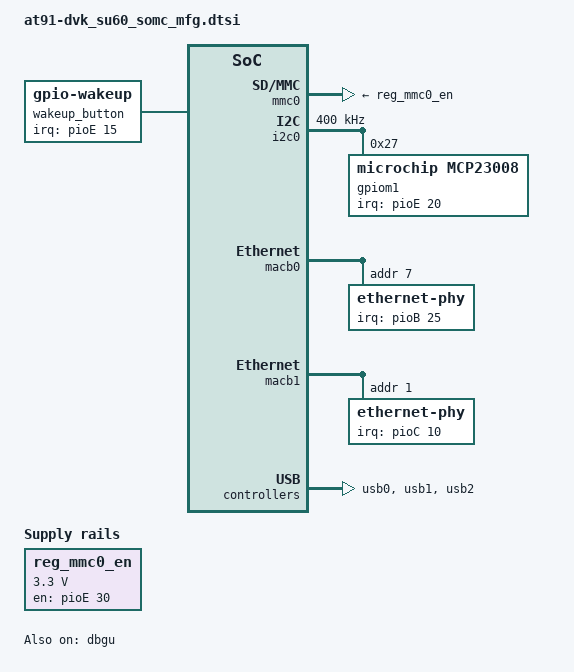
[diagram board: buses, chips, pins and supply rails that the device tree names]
/*
 * at91-dvk_su60_somc_mfg.dtsi - Device Tree file for the Manufacturing SOM60 board
 *
 *  Copyright (C) 2018 Laird,
 *		  2018 Ben Whitten <ben.whitten@lairdconnect.com>
 *		  2018 Boris Krasnovskiy <boris.krasnovskiy@lairdconnect.com>
 *
 * Licensed under GPLv2 or later.
 */

/ {
	reg_mmc0_en: reg_mmc0_en_grp {
		pinctrl-names = "default";
		pinctrl-0 = <&pinctrl_mmc0_en>;

		compatible = "regulator-fixed";
		regulator-name = "VDD MMC0";
		regulator-min-microvolt = <3300000>;
		regulator-max-microvolt = <3300000>;

		gpio = <&pioE 30 GPIO_ACTIVE_HIGH>;
		startup-delay-us = <110>;
		enable-active-high;
	};

	wakeup_button {
		pinctrl-names = "default";
		pinctrl-0 = <&pinctrl_pb_wake>;

		compatible = "gpio-wakeup";

		interrupts-extended = <&pioE 15 IRQ_TYPE_EDGE_FALLING>;
	};
};

&pinctrl {
	board {
		pinctrl_mmc0_cd: mmc0_cd {
			atmel,pins =
				<AT91_PIOE 31 AT91_PERIPH_GPIO AT91_PINCTRL_DEGLITCH>;
		};

		pinctrl_mmc0_en: mmc0_en {
			atmel,pins =
				<AT91_PIOE 30 AT91_PERIPH_GPIO AT91_PINCTRL_MULTI_DRIVE>;
		};

		pinctrl_gpiom_int: gpiom_int {
			atmel,pins =
				<AT91_PIOE 20 AT91_PERIPH_GPIO AT91_PINCTRL_DEGLITCH>;
		};

		pinctrl_usba_vbus: usba_vbus {
		   atmel,pins =
				<AT91_PIOC 14 AT91_PERIPH_GPIO AT91_PINCTRL_DEGLITCH>;
		};

		pinctrl_geth_int: geth_int {
			atmel,pins =
				<AT91_PIOB 25 AT91_PERIPH_GPIO AT91_PINCTRL_DEGLITCH>;
		};

		pinctrl_eth_int: eth_int {
			atmel,pins =
				<AT91_PIOC 10 AT91_PERIPH_GPIO AT91_PINCTRL_DEGLITCH>;
		};

		pinctrl_pb_wake: pb_wake {
			atmel,pins =
				<AT91_PIOE 15 AT91_PERIPH_GPIO AT91_PINCTRL_PULL_UP_DEGLITCH>;
		};
	};
};

&mmc0 {
	pinctrl-names = "default";
	pinctrl-0 = <&pinctrl_mmc0_clk_cmd_dat0 &pinctrl_mmc0_dat1_3 &pinctrl_mmc0_cd>;
	pinctrl-1 = <&pinctrl_mmc0_clk_cmd_dat0_sleep &pinctrl_mmc0_dat1_3_sleep &pinctrl_mmc0_cd>;

	vmmc-supply = <&reg_mmc0_en>;
	status = "okay";

	slot@0 {
		reg = <0>;
		bus-width = <4>;
		cd-gpios = <&pioE 31 GPIO_ACTIVE_HIGH>;
	};
};

&i2c0 {
	status = "okay";
	clock-frequency = <400000>;

	gpiom1: gpio@27 {
		pinctrl-names = "default";
		pinctrl-0 = <&pinctrl_gpiom_int>;

		compatible = "microchip,mcp23008";
		reg = <0x27>;

		gpio-controller;
		#gpio-cells = <2>;

		interrupt-parent = <&pioE>;
		interrupts = <20 IRQ_TYPE_LEVEL_LOW>;
		interrupt-controller;
		#interrupt-cells = <2>;
	};
};

&macb0 {
	status = "okay";

	ethernet-phy@7 {
		pinctrl-names = "default";
		pinctrl-0 = <&pinctrl_geth_int>;

		reg = <7>;
		interrupt-parent = <&pioB>;
		interrupts = <25 IRQ_TYPE_EDGE_FALLING>;

		ksz9021,rgmii_2.0_timing;

		vsc8531,vddmac = /bits/ 16 <3300>;
		vsc8531,edge-slowdown = /bits/ 8 <7>;
	};
};

&macb1 {
	status = "okay";

	ethernet-phy@1 {
		pinctrl-names = "default";
		pinctrl-0 = <&pinctrl_eth_int>;

		reg = <1>;
		interrupt-parent = <&pioC>;
		interrupts = <10 IRQ_TYPE_EDGE_FALLING>;
	};
};

&dbgu {
	atmel,use-dma-tx;
	atmel,use-dma-rx;
	status = "okay";
};

&usb0 {
	pinctrl-names = "default";
	pinctrl-0 = <&pinctrl_usba_vbus>;

	atmel,vbus-gpio = <&pioC 14 GPIO_ACTIVE_HIGH>;

	status = "okay";
};

&usb1 {
	num-ports = <3>;
	atmel,vbus-gpio = <0>, <&gpiom1 6 GPIO_ACTIVE_HIGH>, <&gpiom1 7 GPIO_ACTIVE_HIGH>;
	atmel,oc-gpio = <0>, <&gpiom1 0 GPIO_ACTIVE_LOW>, <&gpiom1 1 GPIO_ACTIVE_LOW>;

	status = "okay";
};

&usb2 {
	status = "okay";
};
